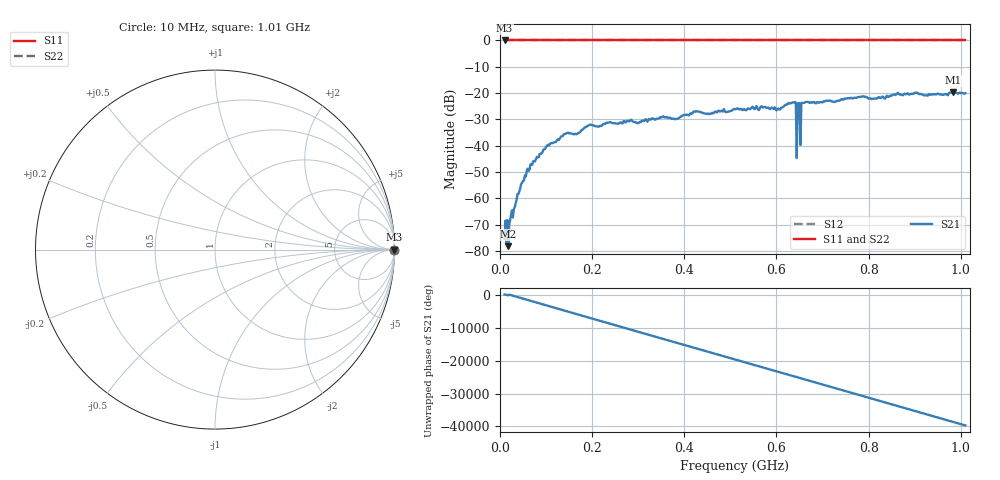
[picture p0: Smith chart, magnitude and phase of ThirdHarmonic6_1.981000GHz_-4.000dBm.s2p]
! 8/16/2025 11:49:06 PM
! C:\ANRITSUVNA\TEMP\TEMP.S2P
! CHANNEL.1
! TR.MEASUREMENT
! RAW.DATA
! RF.CORRECTION.OFF
! AVERAGING.OFF
! IF.BANDWIDTH: 5KHZ
! SWEEPTYPE:  FREQ.SWEEP(Linear)
! Reference Plane Port Info
! PORT:  PORT1  PORT2
! DISTANCE:  0  m  0  m
! TIME:  0  s  0  s
! PHASE.OFFSET:  0  deg.  0  deg.
! LOSS:  0  dB  0  dB
! REF.LOSS:  0  dB  0  dB
! REF.FREQ:  0  Hz  0  Hz
! Power Info
! POWER:  -20  dBm  -20  dBm
! EFF.POWER:  -20  dBm  -20  dBm
! SOURCE.ATTEN:  0  dB  0  dB
! TEST.ATTEN:  0  dB  0  dB
# GHZ S RI R 50.0
! FREQ.GHZ  S11RE  S11IM  S21RE  S21IM  S12RE  S12IM  S22RE  S22IM
!; PortSelection: Port_12
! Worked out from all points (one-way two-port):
!   501 points, 10 MHz to 1.01 GHz, reference 50 ohm
!   highest |S21| = -19.68 dB at 984 MHz (marker M1); lowest = -78.2 dB at 18 MHz (marker M2)
!   lowest |S11| = 0.0 dB at 10 MHz (marker M3)
!   |S11| at or under -10 dB: nowhere
!   |S22| runs from 0.0 to 0.0 dB; largest |S21 - S12| = 1.1
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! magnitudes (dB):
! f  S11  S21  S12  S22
! 10 MHz  0.0  -75.4  0.0  0.0
! 18 MHz  0.0  -78.2  0.0  0.0
! 42 MHz  0.0  -57.4  0.0  0.0
! 70 MHz  0.0  -47.2  0.0  0.0
! 106 MHz  0.0  -40.0  0.0  0.0
! 144 MHz  0.0  -35.3  0.0  0.0
! 178 MHz  0.0  -34.0  0.0  0.0
! 196 MHz  0.0  -32.0  0.0  0.0
! 344 MHz  0.0  -29.7  0.0  0.0
! 510 MHz  0.0  -26.1  0.0  0.0
! 604 MHz  0.0  -25.9  0.0  0.0
! 638 MHz  0.0  -23.6  0.0  0.0
! 640 MHz  0.0  -23.4  0.0  0.0
! 646 MHz  0.0  -23.9  0.0  0.0
! 648 MHz  0.0  -23.8  0.0  0.0
! 650 MHz  0.0  -23.8  0.0  0.0
! 656 MHz  0.0  -23.7  0.0  0.0
! 658 MHz  0.0  -23.7  0.0  0.0
! 678 MHz  0.0  -23.6  0.0  0.0
! 844 MHz  0.0  -21.5  0.0  0.0
! 984 MHz  0.0  -19.7  0.0  0.0
! 1.01 GHz  0.0  -20.1  0.0  0.0
